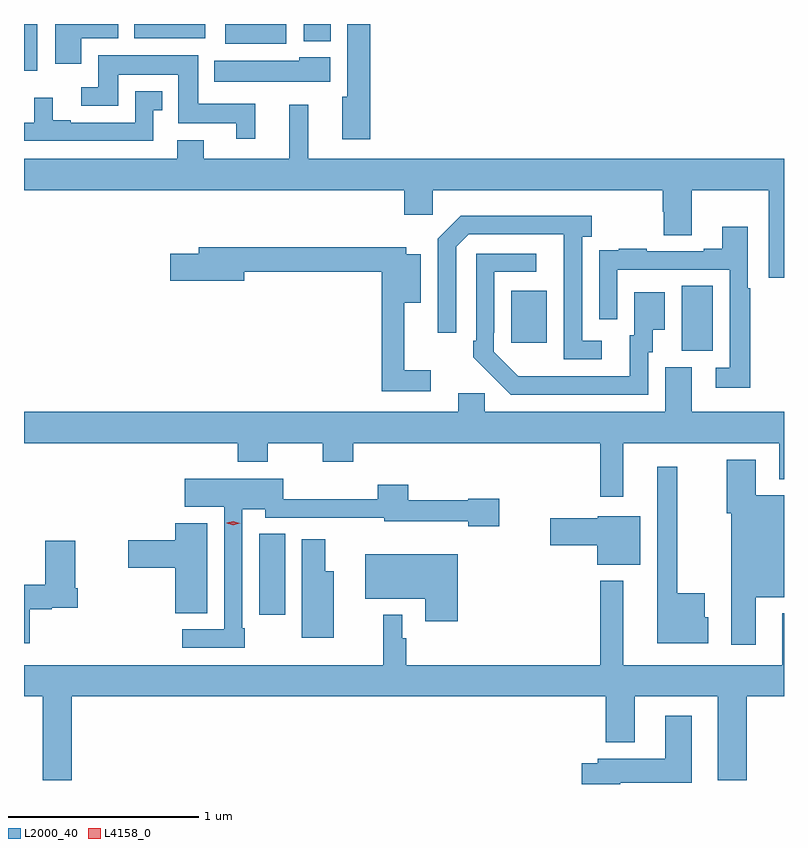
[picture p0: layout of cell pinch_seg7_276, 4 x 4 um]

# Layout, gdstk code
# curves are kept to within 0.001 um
import gdstk
lib = gdstk.Library(unit=1e-6, precision=1e-09)
def R(c, l, rs):  # rectangles x0, y0, x1, y1
    for r in rs: c.add(gdstk.rectangle(r[:2], r[2:], *l))
def P(c, l, *ps):  # polygons
    for p in ps: c.add(gdstk.Polygon(p, *l))
L2000_40 = (2000, 40)
L4158_0 = (4158, 0)

pinch_seg7_276 = lib.new_cell('pinch_seg7_276')
R(pinch_seg7_276, L2000_40, [(580.943,1060.986,581.08,1061.411), (583.166,1062.373,583.33,1062.716), (582.269,1062.417,582.457,1062.691), (579.705,1063.848,579.775,1064.094), (580.763,1063.991,581.086,1064.094), (581.178,1064.004,581.32,1064.094), (580.286,1064.018,580.66,1064.094)])
P(pinch_seg7_276, L2000_40, [(581.528,1064.094),(581.405,1064.094),(581.405,1063.71),(581.381,1063.71),(581.381,1063.488),(581.528,1063.488)],
  [(580.006,1064.018),(580.201,1064.018),(580.201,1064.094),(579.869,1064.094),(579.869,1063.884),(580.006,1063.884)],
  [(580.922,1063.675),(580.621,1063.675),(580.621,1063.93),(580.097,1063.93),(580.097,1063.761),(580.005,1063.761),(580.005,1063.665),(580.201,1063.665),(580.201,1063.826),(580.517,1063.826),(580.517,1063.571),(580.823,1063.571),(580.823,1063.491),(580.922,1063.491)],
  [(581.317,1063.918),(581.154,1063.918),(581.154,1063.9),(580.706,1063.9),(580.706,1063.79),(581.317,1063.79)],
  [(580.386,1063.641),(580.432,1063.641),(580.432,1063.741),(580.29,1063.741),(580.29,1063.575),(579.952,1063.575),(579.952,1063.588),(579.856,1063.588),(579.856,1063.705),(579.758,1063.705),(579.758,1063.575),(579.705,1063.575),(579.705,1063.479),(580.386,1063.479)],
  [(583.705,1063.384),(581.201,1063.384),(581.201,1063.669),(581.102,1063.669),(581.102,1063.384),(580.651,1063.384),(580.651,1063.483),(580.511,1063.483),(580.511,1063.384),(579.705,1063.384),(579.705,1063.22),(581.705,1063.22),(581.705,1063.089),(581.856,1063.089),(581.856,1063.22),(583.067,1063.22),(583.067,1063.107),(583.072,1063.107),(583.072,1062.982),(583.219,1062.982),(583.219,1063.22),(583.625,1063.22),(583.625,1062.759),(583.705,1062.759)],
  [(582.745,1062.426),(582.642,1062.426),(582.642,1062.974),(582.694,1062.974),(582.694,1063.084),(582.004,1063.084),(581.883,1062.963),(581.883,1062.468),(581.979,1062.468),(581.979,1062.921),(582.045,1062.987),(582.545,1062.987),(582.546,1062.33),(582.745,1062.33)],
  [(583.528,1062.704),(583.515,1062.704),(583.515,1063.027),(583.379,1063.027),(583.379,1062.91),(583.283,1062.91),(583.283,1062.897),(582.983,1062.897),(582.983,1062.91),(582.835,1062.91),(582.835,1062.903),(582.733,1062.903),(582.733,1062.794),(582.732,1062.794),(582.732,1062.54),(582.828,1062.54),(582.828,1062.801),(583.419,1062.801),(583.419,1062.285),(583.347,1062.285),(583.347,1062.18),(583.528,1062.18)],
  [(581.845,1062.271),(581.705,1062.271),(581.705,1062.626),(581.794,1062.626),(581.794,1062.883),(581.718,1062.883),(581.718,1062.919),(580.625,1062.919),(580.625,1062.885),(580.476,1062.885),(580.476,1062.743),(580.864,1062.743),(580.864,1062.79),(581.587,1062.79),(581.587,1062.162),(581.845,1062.162)],
  [(582.99,1062.366),(583.015,1062.366),(583.015,1062.485),(583.078,1062.485),(583.078,1062.682),(582.917,1062.682),(582.917,1062.456),(582.893,1062.456),(582.893,1062.24),(582.306,1062.241),(582.177,1062.369),(582.177,1062.469),(582.18,1062.469),(582.18,1062.789),(582.4,1062.789),(582.4,1062.885),(582.084,1062.885),(582.084,1062.427),(582.069,1062.427),(582.069,1062.339),(582.266,1062.144),(582.99,1062.144)],
  [(582.859,1061.888),(583.679,1061.888),(583.679,1061.698),(583.705,1061.698),(583.705,1062.052),(583.219,1062.052),(583.219,1062.288),(583.079,1062.288),(583.079,1062.052),(582.129,1062.052),(582.129,1062.15),(581.99,1062.15),(581.99,1062.052),(579.705,1062.052),(579.705,1061.888),(580.829,1061.888),(580.829,1061.789),(580.989,1061.789),(580.989,1061.888),(581.278,1061.888),(581.278,1061.789),(581.438,1061.789),(581.438,1061.888),(582.738,1061.888),(582.738,1061.607),(582.859,1061.607)],
  [(583.555,1061.078),(583.705,1061.078),(583.705,1061.613),(583.555,1061.613),(583.555,1061.8),(583.403,1061.8),(583.403,1061.52),(583.427,1061.52),(583.427,1060.827),(583.555,1060.827)],
  [(583.306,1060.971),(583.288,1060.971),(583.288,1061.098),(583.144,1061.098),(583.144,1061.764),(583.037,1061.764),(583.037,1060.835),(583.306,1060.835)],
  [(580.867,1060.915),(580.854,1060.915),(580.854,1061.54),(580.974,1061.54),(580.974,1061.496),(581.386,1061.496),(581.386,1061.495),(581.601,1061.495),(581.601,1061.477),(582.042,1061.477),(582.042,1061.45),(582.205,1061.45),(582.205,1061.595),(582.042,1061.595),(582.042,1061.587),(581.727,1061.587),(581.727,1061.668),(581.567,1061.668),(581.567,1061.594),(581.07,1061.594),(581.07,1061.701),(580.551,1061.701),(580.551,1061.552),(580.758,1061.552),(580.758,1060.908),(580.539,1060.908),(580.539,1060.812),(580.867,1060.812)],
  [(582.949,1061.503),(582.726,1061.503),(582.726,1061.493),(582.474,1061.493),(582.474,1061.351),(582.722,1061.351),(582.722,1061.249),(582.949,1061.249)],
  [(580.669,1061.467),(580.502,1061.467),(580.502,1061.378),(580.254,1061.378),(580.254,1061.231),(580.502,1061.231),(580.502,1060.993),(580.669,1060.993)],
  [(581.335,1061.215),(581.29,1061.215),(581.29,1061.383),(581.168,1061.383),(581.168,1060.863),(581.335,1060.863)],
  [(579.736,1061.014),(579.852,1061.014),(579.852,1061.021),(579.989,1061.021),(579.989,1061.125),(579.976,1061.125),(579.976,1061.374),(579.818,1061.374),(579.818,1061.144),(579.705,1061.144),(579.705,1060.835),(579.736,1060.835)],
  [(581.987,1061.302),(581.501,1061.302),(581.501,1061.069),(581.816,1061.069),(581.816,1060.95),(581.987,1060.95)],
  [(579.956,1060.556),(582.767,1060.556),(582.767,1060.313),(582.919,1060.313),(582.919,1060.556),(583.355,1060.556),(583.355,1060.115),(583.508,1060.115),(583.508,1060.556),(583.705,1060.556),(583.705,1060.993),(583.697,1060.993),(583.697,1060.72),(582.859,1060.72),(582.859,1061.164),(582.738,1061.164),(582.738,1060.72),(581.717,1060.72),(581.717,1060.862),(581.697,1060.862),(581.697,1060.984),(581.596,1060.984),(581.596,1060.72),(579.705,1060.72),(579.705,1060.556),(579.803,1060.556),(579.803,1060.115),(579.956,1060.115)],
  [(582.844,1060.1),(583.219,1060.1),(583.219,1060.453),(583.079,1060.453),(583.079,1060.228),(582.726,1060.228),(582.726,1060.204),(582.641,1060.204),(582.641,1060.094),(582.844,1060.094)])
P(pinch_seg7_276, L4158_0, [(580.807,1061.457),(580.772,1061.467),(580.772,1061.467),(580.772,1061.468),(580.807,1061.477),(580.841,1061.467),(580.842,1061.467),(580.841,1061.466)])

lib.write_gds('pinch_seg7_276.gds')
